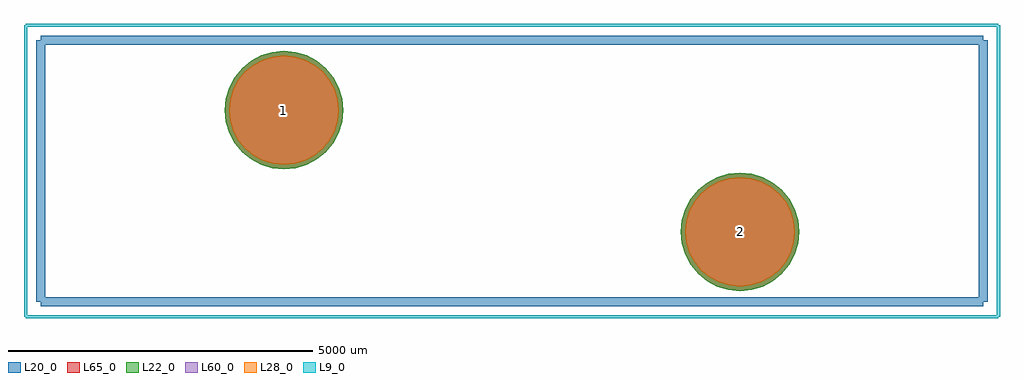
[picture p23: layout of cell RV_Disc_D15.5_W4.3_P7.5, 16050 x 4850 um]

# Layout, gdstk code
import gdstk
lib = gdstk.Library(unit=1e-6, precision=1e-09)
def P(c, l, *ps):  # polygons
    for p in ps: c.add(gdstk.Polygon(p, *l))
L9_0 = (9, 0)
L20_0 = (20, 0)
L22_0 = (22, 0)
L28_0 = (28, 0)
L60_0 = (60, 0)
L65_0 = (65, 0)

rv_disc_d15_5_w4_3_p7_5 = lib.new_cell('RV_Disc_D15.5_W4.3_P7.5')
P(rv_disc_d15_5_w4_3_p7_5, L22_0, [(8475,-2000),(8456.266,-1809.787),(8400.783,-1626.884),(8310.683,-1458.319),(8189.429,-1310.571),(8041.681,-1189.317),(7873.116,-1099.217),(7690.213,-1043.734),(7500,-1025),(7309.787,-1043.734),(7126.884,-1099.217),(6958.319,-1189.317),(6810.571,-1310.571),(6689.317,-1458.319),(6599.217,-1626.884),(6543.734,-1809.787),(6525,-2000),(6543.734,-2190.213),(6599.217,-2373.116),(6689.317,-2541.681),(6810.571,-2689.429),(6958.319,-2810.683),(7126.884,-2900.783),(7309.787,-2956.266),(7500,-2975),(7690.213,-2956.266),(7873.116,-2900.783),(8041.681,-2810.683),(8189.429,-2689.429),(8310.683,-2541.681),(8400.783,-2373.116),(8456.266,-2190.213)],
  [(975,0),(956.266,190.213),(900.783,373.116),(810.683,541.681),(689.429,689.429),(541.681,810.683),(373.116,900.783),(190.213,956.266),(0,975),(-190.213,956.266),(-373.116,900.783),(-541.681,810.683),(-689.429,689.429),(-810.683,541.681),(-900.783,373.116),(-956.266,190.213),(-975,0),(-956.266,-190.213),(-900.783,-373.116),(-810.683,-541.681),(-689.429,-689.429),(-541.681,-810.683),(-373.116,-900.783),(-190.213,-956.266),(0,-975),(190.213,-956.266),(373.116,-900.783),(541.681,-810.683),(689.429,-689.429),(810.683,-541.681),(900.783,-373.116),(956.266,-190.213)])
P(rv_disc_d15_5_w4_3_p7_5, L28_0, [(8400,-2000),(8382.707,-1824.419),(8331.492,-1655.585),(8248.323,-1499.987),(8136.396,-1363.604),(8000.013,-1251.677),(7844.415,-1168.508),(7675.581,-1117.293),(7500,-1100),(7324.419,-1117.293),(7155.585,-1168.508),(6999.987,-1251.677),(6863.604,-1363.604),(6751.677,-1499.987),(6668.508,-1655.585),(6617.293,-1824.419),(6600,-2000),(6617.293,-2175.581),(6668.508,-2344.415),(6751.677,-2500.013),(6863.604,-2636.396),(6999.987,-2748.323),(7155.585,-2831.492),(7324.419,-2882.707),(7500,-2900),(7675.581,-2882.707),(7844.415,-2831.492),(8000.013,-2748.323),(8136.396,-2636.396),(8248.323,-2500.013),(8331.492,-2344.415),(8382.707,-2175.581)],
  [(900,0),(882.707,175.581),(831.492,344.415),(748.323,500.013),(636.396,636.396),(500.013,748.323),(344.415,831.492),(175.581,882.707),(0,900),(-175.581,882.707),(-344.415,831.492),(-500.013,748.323),(-636.396,636.396),(-748.323,500.013),(-831.492,344.415),(-882.707,175.581),(-900,0),(-882.707,-175.581),(-831.492,-344.415),(-748.323,-500.013),(-636.396,-636.396),(-500.013,-748.323),(-344.415,-831.492),(-175.581,-882.707),(0,-900),(175.581,-882.707),(344.415,-831.492),(500.013,-748.323),(636.396,-636.396),(748.323,-500.013),(831.492,-344.415),(882.707,-175.581)])
P(rv_disc_d15_5_w4_3_p7_5, L60_0, [(8400,-2000),(8382.707,-1824.419),(8331.492,-1655.585),(8248.323,-1499.987),(8136.396,-1363.604),(8000.013,-1251.677),(7844.415,-1168.508),(7675.581,-1117.293),(7500,-1100),(7324.419,-1117.293),(7155.585,-1168.508),(6999.987,-1251.677),(6863.604,-1363.604),(6751.677,-1499.987),(6668.508,-1655.585),(6617.293,-1824.419),(6600,-2000),(6617.293,-2175.581),(6668.508,-2344.415),(6751.677,-2500.013),(6863.604,-2636.396),(6999.987,-2748.323),(7155.585,-2831.492),(7324.419,-2882.707),(7500,-2900),(7675.581,-2882.707),(7844.415,-2831.492),(8000.013,-2748.323),(8136.396,-2636.396),(8248.323,-2500.013),(8331.492,-2344.415),(8382.707,-2175.581)],
  [(900,0),(882.707,175.581),(831.492,344.415),(748.323,500.013),(636.396,636.396),(500.013,748.323),(344.415,831.492),(175.581,882.707),(0,900),(-175.581,882.707),(-344.415,831.492),(-500.013,748.323),(-636.396,636.396),(-748.323,500.013),(-831.492,344.415),(-882.707,175.581),(-900,0),(-882.707,-175.581),(-831.492,-344.415),(-748.323,-500.013),(-636.396,-636.396),(-500.013,-748.323),(-344.415,-831.492),(-175.581,-882.707),(0,-900),(175.581,-882.707),(344.415,-831.492),(500.013,-748.323),(636.396,-636.396),(748.323,-500.013),(831.492,-344.415),(882.707,-175.581)])
P(rv_disc_d15_5_w4_3_p7_5, L65_0, [(8475,-2000),(8456.266,-1809.787),(8400.783,-1626.884),(8310.683,-1458.319),(8189.429,-1310.571),(8041.681,-1189.317),(7873.116,-1099.217),(7690.213,-1043.734),(7500,-1025),(7309.787,-1043.734),(7126.884,-1099.217),(6958.319,-1189.317),(6810.571,-1310.571),(6689.317,-1458.319),(6599.217,-1626.884),(6543.734,-1809.787),(6525,-2000),(6543.734,-2190.213),(6599.217,-2373.116),(6689.317,-2541.681),(6810.571,-2689.429),(6958.319,-2810.683),(7126.884,-2900.783),(7309.787,-2956.266),(7500,-2975),(7690.213,-2956.266),(7873.116,-2900.783),(8041.681,-2810.683),(8189.429,-2689.429),(8310.683,-2541.681),(8400.783,-2373.116),(8456.266,-2190.213)],
  [(975,0),(956.266,190.213),(900.783,373.116),(810.683,541.681),(689.429,689.429),(541.681,810.683),(373.116,900.783),(190.213,956.266),(0,975),(-190.213,956.266),(-373.116,900.783),(-541.681,810.683),(-689.429,689.429),(-810.683,541.681),(-900.783,373.116),(-956.266,190.213),(-975,0),(-956.266,-190.213),(-900.783,-373.116),(-810.683,-541.681),(-689.429,-689.429),(-541.681,-810.683),(-373.116,-900.783),(-190.213,-956.266),(0,-975),(190.213,-956.266),(373.116,-900.783),(541.681,-810.683),(689.429,-689.429),(810.683,-541.681),(900.783,-373.116),(956.266,-190.213)])
rv_disc_d15_5_w4_3_p7_5.add(gdstk.FlexPath([(-4000,1150),(-4000,-3150)], 149.998, ends="flush", simple_path=True, layer=20, datatype=0))  # L20_0
rv_disc_d15_5_w4_3_p7_5.add(gdstk.FlexPath([(11500,1150),(11500,-3150)], 149.998, ends="flush", simple_path=True, layer=20, datatype=0))  # L20_0
rv_disc_d15_5_w4_3_p7_5.add(gdstk.FlexPath([(-4000,1150),(11500,1150)], 149.998, ends="flush", simple_path=True, layer=20, datatype=0))  # L20_0
rv_disc_d15_5_w4_3_p7_5.add(gdstk.FlexPath([(-4000,-3150),(11500,-3150)], 149.998, ends="flush", simple_path=True, layer=20, datatype=0))  # L20_0
rv_disc_d15_5_w4_3_p7_5.add(gdstk.FlexPath([(-4250,1400),(-4250,-3400)], 50, ends="flush", simple_path=True, layer=9, datatype=0))  # L9_0
rv_disc_d15_5_w4_3_p7_5.add(gdstk.FlexPath([(11750,1400),(11750,-3400)], 50, ends="flush", simple_path=True, layer=9, datatype=0))  # L9_0
rv_disc_d15_5_w4_3_p7_5.add(gdstk.FlexPath([(-4250,1400),(11750,1400)], 50, ends="flush", simple_path=True, layer=9, datatype=0))  # L9_0
rv_disc_d15_5_w4_3_p7_5.add(gdstk.FlexPath([(-4250,-3400),(11750,-3400)], 50, ends="flush", simple_path=True, layer=9, datatype=0))  # L9_0
rv_disc_d15_5_w4_3_p7_5.add(gdstk.Label('2', (7500,-2000), layer=28, texttype=0))
rv_disc_d15_5_w4_3_p7_5.add(gdstk.Label('1', (0,0), layer=28, texttype=0))
rv_disc_d15_5_w4_3_p7_5.add(gdstk.Label('type', (3750,2150), layer=9, texttype=0))
rv_disc_d15_5_w4_3_p7_5.add(gdstk.Label('devicename', (3750,-4150), layer=9, texttype=0))

lib.write_gds('RV_Disc_D15.5_W4.3_P7.5.gds')
